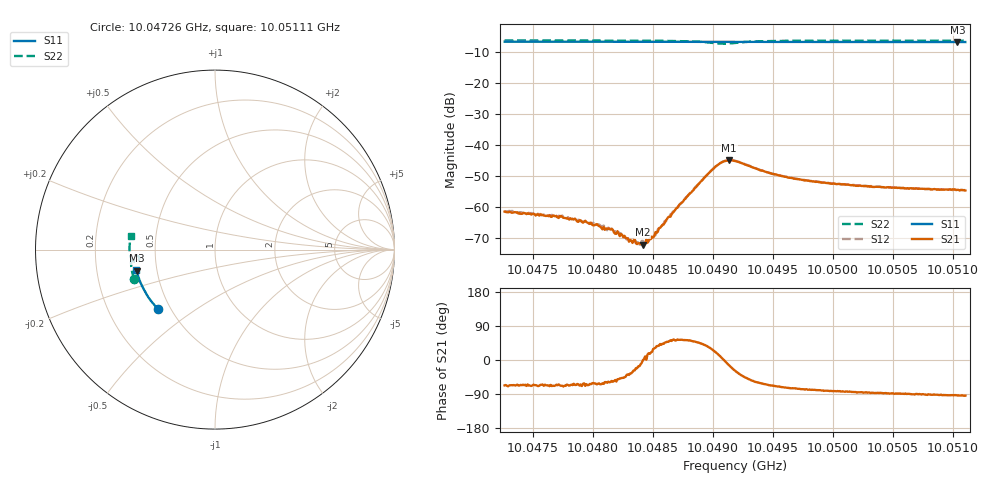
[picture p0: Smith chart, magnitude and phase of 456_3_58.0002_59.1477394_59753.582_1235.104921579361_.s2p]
#  HZ  S  RI  R  50.00
! Rohde & Schwarz Vector Network Analyzer
! Rohde-Schwarz,ZNB20-2Port,1311601062101988,3.16
! Created: UTC 3/21/2024, 1:10:46 AM
! freq[Hz]  re:S11  im:S11  re:S21  im:S21  re:S12  im:S12  re:S22  im:S22
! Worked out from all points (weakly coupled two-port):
!   401 points, 10.04726 GHz to 10.05111 GHz, reference 50 ohm
!   highest |S21| = -44.91 dB at 10.04914 GHz (marker M1); lowest = -72.0 dB at 10.04842 GHz (marker M2)
!   lowest |S11| = -6.9 dB at 10.05104 GHz (marker M3), VSWR 2.65, Z = 19.1 - j5.62 ohm
!   |S11| at or under -10 dB: nowhere
!   |S22| runs from -7.4 to -6.4 dB; largest |S21 - S12| = 0.0004
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1.0047262e10  -0.3178 -0.3311  0.000336 -0.000784  0.000412 -0.000751  -0.4503 -0.1645
1.0047733e10  -0.3388 -0.3081  0.000273 -0.00067  0.000347 -0.000618  -0.4594 -0.1333
1.0047906e10  -0.346 -0.2993  0.000216 -0.000551  0.000276 -0.000513  -0.4622 -0.1215
1.004804e10  -0.3515 -0.2923  0.000236 -0.000456  0.00028 -0.000455  -0.4641 -0.1121
1.0048088e10  -0.3535 -0.2899  0.000219 -0.000431  0.000264 -0.000436  -0.4647 -0.1085
1.0048146e10  -0.3558 -0.2869  0.000234 -0.000372  0.000258 -0.000371  -0.4653 -0.1044
1.0048319e10  -0.3626 -0.2776  0.000239 -0.000169  0.000251 -0.000151  -0.4672 -0.0914
1.0048377e10  -0.3648 -0.2746  0.000253 -7.55e-05  0.000261 -8.47e-05  -0.4676 -0.0868
1.0048415e10  -0.3662 -0.2724  0.000251 -2.2e-06  0.000289 2.71e-06  -0.4677 -0.0837
1.0048444e10  -0.3675 -0.271  0.000305 4.48e-06  0.000265 6.68e-05  -0.4677 -0.0813
1.0048492e10  -0.3692 -0.2683  0.000312 0.000125  0.00031 0.000196  -0.4678 -0.0772
1.004855e10  -0.3714 -0.2652  0.000366 0.000286  0.000345 0.000319  -0.4678 -0.0724
1.0048713e10  -0.3772 -0.2561  0.000633 0.000844  0.000565 0.00089  -0.4656 -0.0568
1.0048973e10  -0.3858 -0.2414  0.00311 0.00197  0.00299 0.00215  -0.4419 -0.0325
1.0049069e10  -0.3887 -0.2361  0.00517 0.000633  0.00517 0.000993  -0.4241 -0.0419
1.0049137e10  -0.3908 -0.2323  0.0055 -0.00141  0.00565 -0.00108  -0.4242 -0.058
1.0049185e10  -0.3924 -0.2299  0.00491 -0.00261  0.00511 -0.00231  -0.4321 -0.0656
1.0049502e10  -0.4024 -0.2115  0.0013 -0.00318  0.00149 -0.00311  -0.4685 -0.0454
1.0049829e10  -0.4115 -0.1919  0.000523 -0.00256  0.000692 -0.00257  -0.4749 -0.017
1.0050473e10  -0.4267 -0.1526  5.84e-05 -0.0021  0.000198 -0.00207  -0.4754 0.0304
1.005104e10  -0.4368 -0.1169  -0.000109 -0.00191  2.75e-05 -0.00192  -0.4712 0.0689
1.0051108e10  -0.438 -0.1126  -0.000136 -0.00186  -3.1e-05 -0.00191  -0.4706 0.0733
